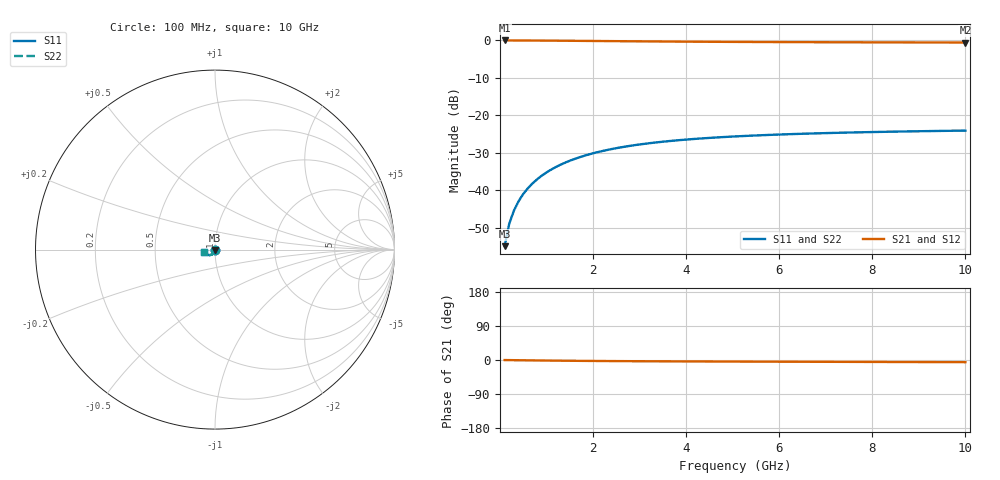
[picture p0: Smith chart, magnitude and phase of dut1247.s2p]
! Touchstone file exported from HFSS 2024.1.0
!  File:  C:/UserFiles/LocalFiles/RDL_TSV_Batchsim/temp_TSV1_1247_1780251945.aedt
!  Generated:  02:31:24 AM Jun  1, 2026
!  Design:  TSV1
!  Project:  temp_TSV1_1247_1780251945
!  Setup:  Setup1
!  Solution:  Sweep
! Variables:
!  dtsv = 12.81um
!  hbump = 3um
!  htsv = 89.98um
!  lrdl = 252.1521522um
!  p = 40
!  p1 = 49.77um
!  t = 500um
!  trdl = 3um
!  wrdl = 24.89489489um
# GHz S MA R 50.000000
! Terminal data exported
! Port[1] = TSV22_T1
! Port[2] = TSV22_T2
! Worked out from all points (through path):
!   100 points, 100 MHz to 10 GHz, reference 50 ohm
!   highest |S21| = 0.00 dB at 100 MHz (marker M1); lowest = -0.5 dB at 10 GHz (marker M2)
!   lowest |S11| = -55.0 dB at 100 MHz (marker M3), VSWR 1.00, Z = 50 - j0.178 ohm
!   |S11| at or under -10 dB: start of sweep to end of sweep
!   |S22| runs from -55.0 to -24.1 dB; largest |S21 - S12| = 5.1e-15
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0.1  0.00178 -88.5  0.9998 -0.2  0.9998 -0.2  0.00178 -88.5
! Gamma 0 0 0 0
! Port Impedance 50 0 50 0
0.2  0.003557 -91.7  0.9997 -0.3  0.9997 -0.3  0.003557 -91.7
0.3  0.005332 -93.8  0.9994 -0.5  0.9994 -0.5  0.005332 -93.8
0.4  0.007099 -95.8  0.999 -0.6  0.999 -0.6  0.007099 -95.8
0.5  0.008852 -97.6  0.9985 -0.8  0.9985 -0.8  0.008852 -97.6
0.6  0.01058 -99.4  0.998 -0.9  0.998 -0.9  0.01058 -99.4
0.7  0.01229 -101.1  0.9973 -1.0  0.9973 -1.0  0.01229 -101.1
0.8  0.01397 -102.9  0.9966 -1.2  0.9966 -1.2  0.01397 -102.9
0.9  0.01561 -104.5  0.9958 -1.3  0.9958 -1.3  0.01561 -104.5
1.1  0.01879 -107.8  0.994 -1.6  0.994 -1.6  0.01879 -107.8
1.4  0.02326 -112.4  0.991 -1.9  0.991 -1.9  0.02326 -112.4
1.6  0.02602 -115.3  0.9888 -2.1  0.9888 -2.1  0.02602 -115.3
1.8  0.02861 -118.1  0.9865 -2.3  0.9865 -2.3  0.02861 -118.1
2.1  0.03216 -122.0  0.983 -2.6  0.983 -2.6  0.03216 -122.0
2.5  0.03633 -126.7  0.9784 -2.9  0.9784 -2.9  0.03633 -126.7
2.9  0.0399 -131.0  0.9741 -3.2  0.9741 -3.2  0.0399 -131.0
3.4  0.04366 -135.7  0.9691 -3.5  0.9691 -3.5  0.04366 -135.7
4.2  0.04838 -142.0  0.9623 -3.8  0.9623 -3.8  0.04838 -142.0
5.1  0.05232 -147.8  0.9561 -4.2  0.9561 -4.2  0.05232 -147.8
6.7  0.05709 -155.8  0.9481 -4.7  0.9481 -4.7  0.05709 -155.8
8.4  0.06032 -162.3  0.9425 -5.2  0.9425 -5.2  0.06032 -162.3
10  0.06239 -167.2  0.9388 -5.8  0.9388 -5.8  0.06239 -167.2
